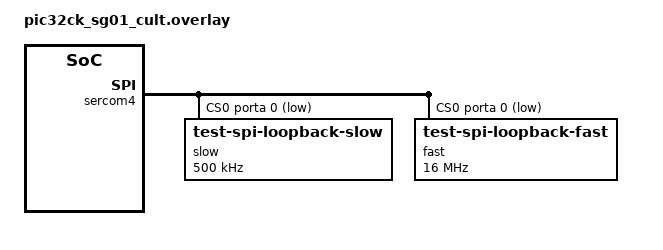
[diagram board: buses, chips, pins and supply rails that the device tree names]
/*
 * Copyright (c) 2026 Microchip Technology Inc.
 *
 * SPDX-License-Identifier: Apache-2.0
 */

&sercom4 {
	/* Internal loopback */
	dipo = <0>;
	dopo = <0>;
	compatible = "microchip,sercom-g1-spi";
	#address-cells = <1>;
	#size-cells = <0>;
	pinctrl-0 = <&sercom4_spi_default>;
	pinctrl-names = "default";
	cs-gpios = <&porta 0 GPIO_ACTIVE_LOW>;
	status = "okay";

	slow@0 {
		compatible = "test-spi-loopback-slow";
		reg = <0>;
		spi-max-frequency = <500000>;
	};

	fast@0 {
		compatible = "test-spi-loopback-fast";
		reg = <0>;
		spi-max-frequency = <16000000>;
	};
};
